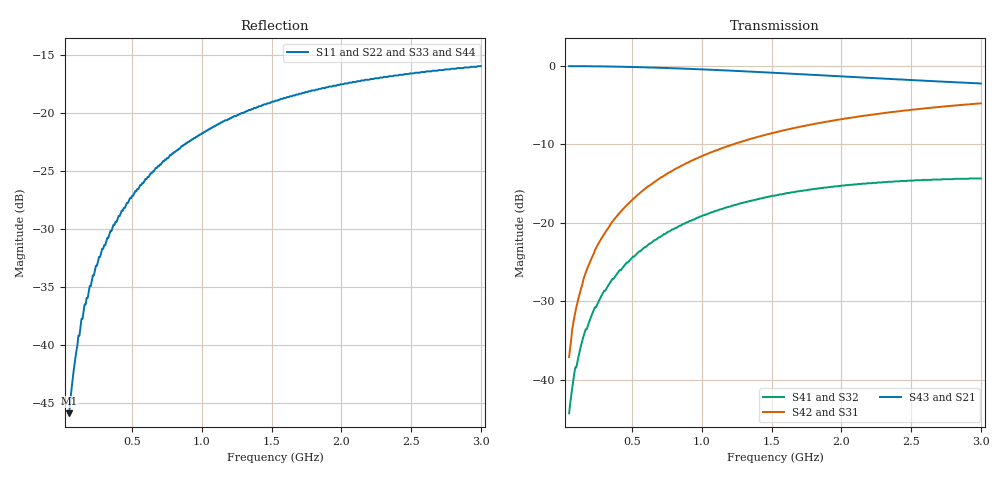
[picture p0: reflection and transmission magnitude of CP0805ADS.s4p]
!	AVX THIN FILM OPERATION
!	CP0805 COUPLERS
!	P/N CP0805AxxxxDSTR
!	Network	Analyzer HP8720ES.07.64:Feb23,2000 Serial No.US39172382
!	Hewlett-Packard
!	5 October 2009
# MHZ S MA R 50
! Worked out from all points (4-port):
!   400 points, 50 MHz to 3 GHz, reference 50 ohm
!   strongest paths, dB at 50 MHz, 789.3 MHz, 1.529 GHz, 2.268 GHz, 3 GHz:
!     S43: 0.0, -0.3, -0.9, -1.6, -2.2
!     S21: 0.0, -0.3, -0.9, -1.6, -2.2
!     S42: -37.1, -13.4, -8.5, -6.1, -4.8
!     S31: -37.1, -13.4, -8.5, -6.1, -4.8
!     S41: -44.3, -20.8, -16.5, -14.8, -14.3
!     S32: -44.3, -20.8, -16.5, -14.8, -14.3
!   lowest |S11| = -45.9 dB at 50 MHz (marker M1), VSWR 1.01, Z = 50.2 - j0.457 ohm
!   |S11| at or under -10 dB: start of sweep to end of sweep
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50  0.005097 -63.3  0.997 -1.0  0.014 88.9  0.006125 88.4
    0.997 -1.0  0.005097 -63.3  0.006125 88.4  0.014 88.9
    0.014 88.9  0.006125 88.4  0.005097 -63.3  0.997 -1.0
    0.006125 88.4  0.014 88.9  0.997 -1.0  0.005097 -63.3
94.361  0.008775 -77.7  0.997 -1.8  0.027 88.0  0.012 87.0
        0.997 -1.8  0.008775 -77.7  0.012 87.0  0.027 88.0
        0.027 88.0  0.012 87.0  0.008775 -77.7  0.997 -1.8
        0.012 87.0  0.027 88.0  0.997 -1.8  0.008775 -77.7
249.624  0.022 -94.0  0.994 -4.8  0.071 84.7  0.03 82.2
         0.994 -4.8  0.022 -94.0  0.03 82.2  0.071 84.7
         0.071 84.7  0.03 82.2  0.022 -94.0  0.994 -4.8
         0.03 82.2  0.071 84.7  0.994 -4.8  0.022 -94.0
427.068  0.038 -103.9  0.988 -8.1  0.12 81.0  0.051 76.8
         0.988 -8.1  0.038 -103.9  0.051 76.8  0.12 81.0
         0.12 81.0  0.051 76.8  0.038 -103.9  0.988 -8.1
         0.051 76.8  0.12 81.0  0.988 -8.1  0.038 -103.9
759.774  0.064 -118.7  0.97 -14.1  0.208 74.2  0.088 66.9
         0.97 -14.1  0.064 -118.7  0.088 66.9  0.208 74.2
         0.208 74.2  0.088 66.9  0.064 -118.7  0.97 -14.1
         0.088 66.9  0.208 74.2  0.97 -14.1  0.064 -118.7
1610.025  0.117 -150.9  0.896 -27.8  0.393 59.3  0.155 45.3
          0.896 -27.8  0.117 -150.9  0.155 45.3  0.393 59.3
          0.393 59.3  0.155 45.3  0.117 -150.9  0.896 -27.8
          0.155 45.3  0.393 59.3  0.896 -27.8  0.117 -150.9
3000  0.159 167.1  0.773 -45.0  0.578 41.8  0.192 23.6
      0.773 -45.0  0.159 167.1  0.192 23.6  0.578 41.8
      0.578 41.8  0.192 23.6  0.159 167.1  0.773 -45.0
      0.192 23.6  0.578 41.8  0.773 -45.0  0.159 167.1
